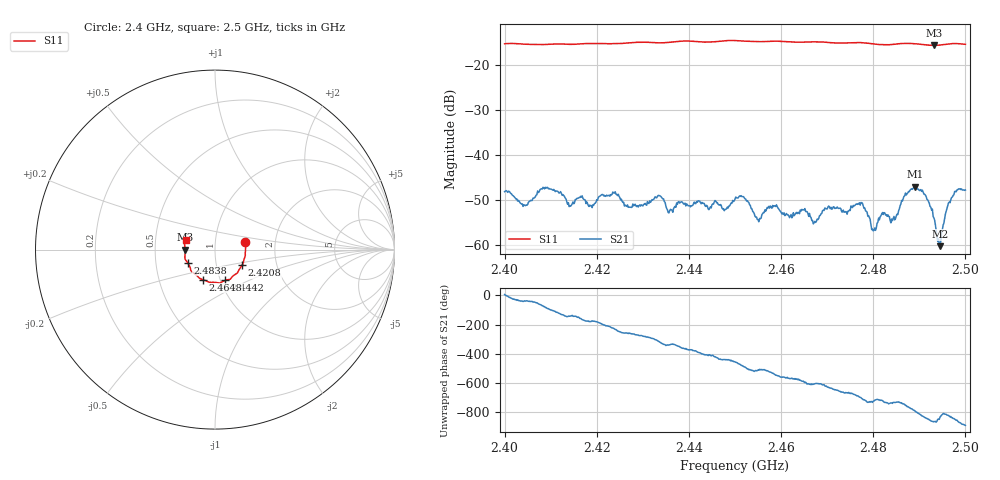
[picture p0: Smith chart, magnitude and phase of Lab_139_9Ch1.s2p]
# Hz S RI R 50
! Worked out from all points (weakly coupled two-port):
!   601 points, 2.4 GHz to 2.5 GHz, reference 50 ohm
!   highest |S21| = -46.96 dB at 2.489 GHz (marker M1); lowest = -60.2 dB at 2.4945 GHz (marker M2)
!   lowest |S11| = -15.6 dB at 2.4932 GHz (marker M3), VSWR 1.40, Z = 35.8 - j0.077 ohm
!   |S11| at or under -10 dB: start of sweep to end of sweep
!   S12 and S22 are empty: the file has one direction only
!   S11 on the Smith chart (normalised r, x): 2.4 GHz: 1.40, +0.12; 2.4208 GHz: 1.33, -0.24; 2.4442 GHz: 1.05, -0.37; 2.4648 GHz: 0.83, -0.29; 2.4838 GHz: 0.73, -0.11; 2.5 GHz: 0.72, +0.08
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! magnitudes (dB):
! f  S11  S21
! 2.4 GHz  -15.3  -48.1
! 2.4045 GHz  -15.4  -51.2
! 2.4088 GHz  -15.4  -47.1
! 2.4167 GHz  -15.2  -49.3
! 2.4208 GHz  -15.2  -49.0
! 2.4272 GHz  -15.0  -51.6
! 2.4333 GHz  -15.0  -48.9
! 2.436 GHz  -14.9  -52.0
! 2.4442 GHz  -14.9  -51.9
! 2.45 GHz  -14.5  -49.8
! 2.4552 GHz  -14.8  -54.8
! 2.4648 GHz  -14.9  -52.1
! 2.4667 GHz  -14.8  -54.5
! 2.4772 GHz  -15.0  -51.1
! 2.4802 GHz  -15.3  -56.7
! 2.4833 GHz  -15.5  -53.6
! 2.4838 GHz  -15.4  -55.0
! 2.489 GHz  -15.2  -47.0
! 2.4932 GHz  -15.6  -53.9
! 2.4945 GHz  -15.5  -60.2
! 2.4968 GHz  -15.2  -49.9
! 2.5 GHz  -15.4  -47.7
